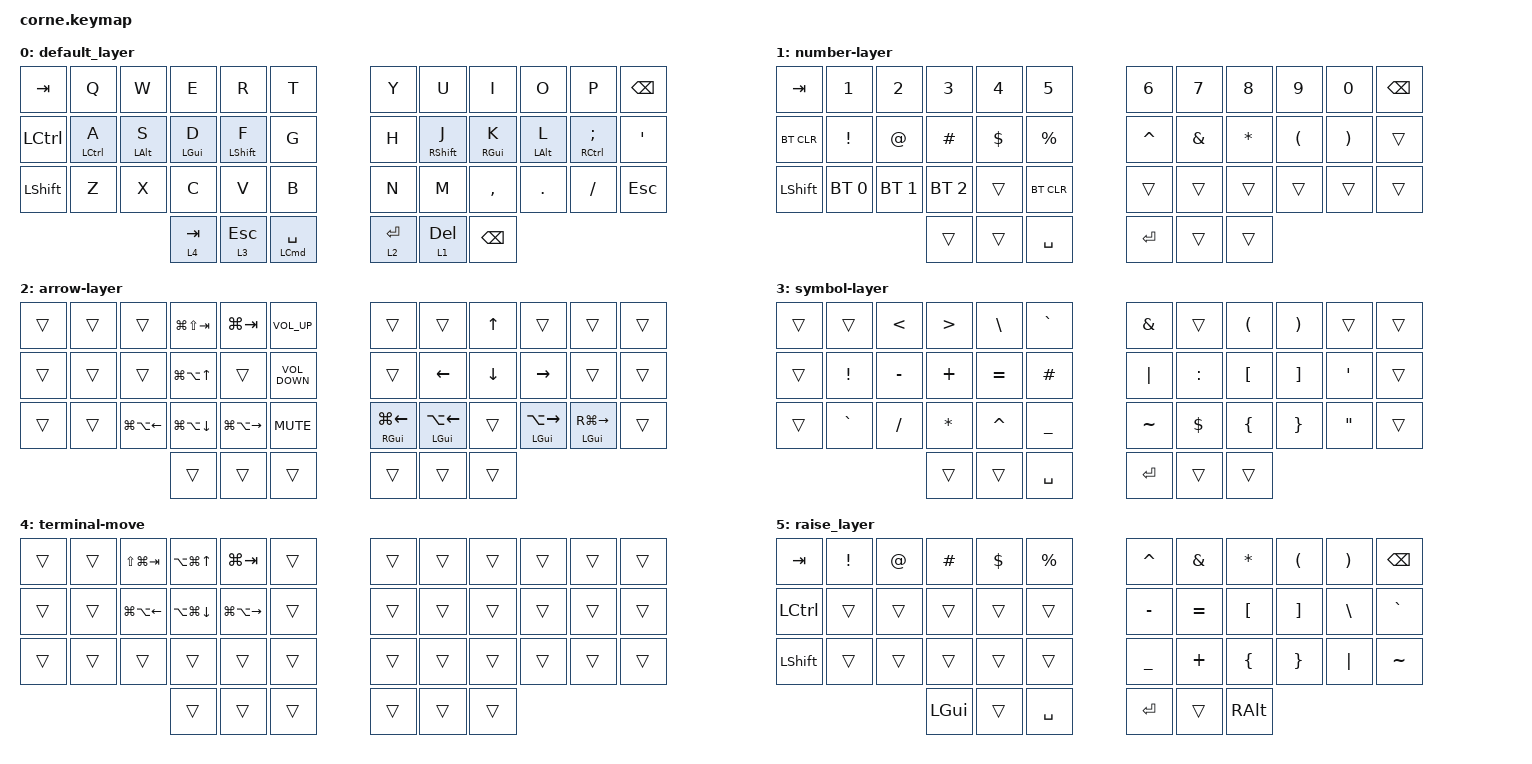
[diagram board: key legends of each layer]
/*
 * Copyright (c) 2020 The ZMK Contributors
 *
 * SPDX-License-Identifier: MIT
 */

#include <behaviors.dtsi>
#include <dt-bindings/zmk/bt.h>
#include <dt-bindings/zmk/keys.h>

// Personal include

#include "includes/settings.dtsi"

&mt {
    require-prior-idle-ms = <30>;
    quick-tap-ms = <30>;
    hold-trigger-key-positions = <38>;
    hold-trigger-on-release;
    tapping-term-ms = <150>;
};

&lt {
    tapping-term-ms = <150>;
    quick-tap-ms = <30>;
    require-prior-idle-ms = <30>;
    hold-trigger-on-release;
    hold-trigger-key-positions = <39 40 37 36>;
};

/ {
    keymap {
        compatible = "zmk,keymap";

        default_layer {
            // -----------------------------------------------------------------------------------------
            // |  TAB |  Q  |  W  |  E  |  R  |  T  |   |  Y  |  U   |  I  |  O  |  P  | BSPC |
            // | CTRL |  A  |  S  |  D  |  F  |  G  |   |  H  |  J   |  K  |  L  |  ;  |  '   |
            // | SHFT |  Z  |  X  |  C  |  V  |  B  |   |  N  |  M   |  ,  |  .  |  /  | ESC  |
            //                    | GUI | LWR | SPC |   | ENT | RSE  | ALT |

            bindings = <
&kp TAB    &kp Q        &kp W           &kp E           &kp R             &kp T                     &kp Y        &kp U         &kp I            &kp O           &kp P                &kp BSPC
&kp LCTRL  &hm LCTRL A  &hm LEFT_ALT S  &hm LEFT_GUI D  &hm LEFT_SHIFT F  &kp G                     &kp H        &hm RSHFT J   &hm RIGHT_GUI K  &hm LEFT_ALT L  &hm RCTRL SEMICOLON  &kp SQT
&kp LSHFT  &kp Z        &kp X           &kp C           &kp V             &kp B                     &kp N        &kp M         &kp COMMA        &kp DOT         &kp FSLH             &kp ESC
                                        &lt 4 TAB       &lt 3 ESCAPE      &mt LEFT_COMMAND SPACE    &lt 2 ENTER  &lt 1 DELETE  &kp BACKSPACE
            >;
        };

        number-layer {
            // -----------------------------------------------------------------------------------------
            // |  TAB |  1  |  2  |  3  |  4  |  5  |   |  6  |  7  |  8  |  9  |  0  | BSPC |
            // | BTCLR| BT1 | BT2 | BT3 | BT4 | BT5 |   | LFT | DWN |  UP | RGT |     |      |
            // | SHFT |     |     |     |     |     |   |     |     |     |     |     |      |
            //                    | GUI |     | SPC |   | ENT |     | ALT |

            bindings = <
&kp TAB     &kp N1           &kp N2        &kp N3        &kp N4      &kp N5         &kp N6     &kp N7         &kp N8        &kp N9                &kp N0                 &kp BSPC
&bt BT_CLR  &kp EXCLAMATION  &kp AT_SIGN   &kp HASH      &kp DOLLAR  &kp PERCENT    &kp CARET  &kp AMPERSAND  &kp ASTERISK  &kp LEFT_PARENTHESIS  &kp RIGHT_PARENTHESIS  &trans
&kp LSHFT   &bt BT_SEL 0     &bt BT_SEL 1  &bt BT_SEL 2  &trans      &bt BT_CLR     &trans     &trans         &trans        &trans                &trans                 &trans
                                           &trans        &trans      &kp SPACE      &kp ENTER  &trans         &trans
            >;
        };

        arrow-layer {
            bindings = <
&trans  &trans  &trans            &kp LG(LS(TAB))       &kp LG(TAB)        &kp C_VOLUME_UP      &trans                  &trans                       &kp UP_ARROW  &trans                  &trans                  &trans
&trans  &trans  &trans            &kp LG(LA(UP_ARROW))  &trans             &kp C_VOLUME_DOWN    &trans                  &kp LEFT                     &kp DOWN      &kp RIGHT               &trans                  &trans
&trans  &trans  &kp LG(LA(LEFT))  &kp LG(LA(DOWN))      &kp LG(LA(RIGHT))  &kp K_MUTE           &hm RIGHT_GUI LG(LEFT)  &hm LEFT_GUI LA(LEFT_ARROW)  &trans        &hm LEFT_GUI LA(RIGHT)  &hm LEFT_GUI RG(RIGHT)  &trans
                                  &trans                &trans             &trans               &trans                  &trans                       &trans
            >;
        };

        symbol-layer {
            bindings = <
&trans  &trans           &kp LESS_THAN  &kp GREATER_THAN  &kp BACKSLASH  &kp GRAVE         &kp AMPERSAND  &trans      &kp LEFT_PARENTHESIS  &kp RIGHT_PARENTHESIS  &trans             &trans
&trans  &kp EXCLAMATION  &kp MINUS      &kp PLUS          &kp EQUAL      &kp HASH          &kp PIPE       &kp COLON   &kp LEFT_BRACKET      &kp RIGHT_BRACKET      &kp SINGLE_QUOTE   &trans
&trans  &kp GRAVE        &kp SLASH      &kp ASTERISK      &kp CARET      &kp UNDERSCORE    &kp TILDE      &kp DOLLAR  &kp LEFT_BRACE        &kp RIGHT_BRACE        &kp DOUBLE_QUOTES  &trans
                                        &trans            &trans         &kp SPACE         &kp ENTER      &trans      &trans
            >;
        };

        terminal-move {
            bindings = <
&trans  &trans  &kp LS(LG(TAB))   &kp LA(LG(UP_ARROW))    &kp LG(TAB)        &trans    &trans  &trans  &trans  &trans  &trans  &trans
&trans  &trans  &kp LG(LA(LEFT))  &kp LA(LG(DOWN_ARROW))  &kp LG(LA(RIGHT))  &trans    &trans  &trans  &trans  &trans  &trans  &trans
&trans  &trans  &trans            &trans                  &trans             &trans    &trans  &trans  &trans  &trans  &trans  &trans
                                  &trans                  &trans             &trans    &trans  &trans  &trans
            >;
        };

        raise_layer {
            // -----------------------------------------------------------------------------------------
            // |  TAB |  !  |  @  |  #  |  $  |  %  |   |  ^  |  &  |  *  |  (  |  )  | BSPC |
            // | CTRL |     |     |     |     |     |   |  -  |  =  |  [  |  ]  |  \  |  `   |
            // | SHFT |     |     |     |     |     |   |  _  |  +  |  {  |  }  | "|" |  ~   |
            //                    | GUI |     | SPC |   | ENT |     | ALT |

            bindings = <
&kp TAB    &kp EXCL  &kp AT  &kp HASH  &kp DLLR  &kp PRCNT    &kp CARET  &kp AMPS   &kp ASTRK  &kp LPAR  &kp RPAR  &kp BSPC
&kp LCTRL  &trans    &trans  &trans    &trans    &trans       &kp MINUS  &kp EQUAL  &kp LBKT   &kp RBKT  &kp BSLH  &kp GRAVE
&kp LSHFT  &trans    &trans  &trans    &trans    &trans       &kp UNDER  &kp PLUS   &kp LBRC   &kp RBRC  &kp PIPE  &kp TILDE
                             &kp LGUI  &trans    &kp SPACE    &kp RET    &trans     &kp RALT
            >;
        };
    };
};
